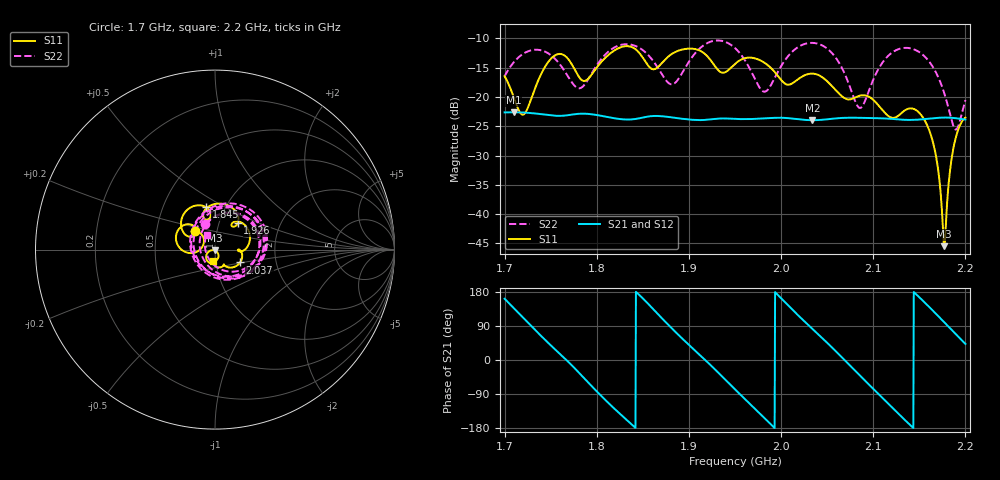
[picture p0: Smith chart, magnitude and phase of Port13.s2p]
# Hz S RI R 50
! CMT, CMT808U, 21440046, 21.4.3/4
! Date: 6/12/2026 9:37:08 AM
! Data: Format (Calibration Info)
! Freq	S11:Re/Im(F2)	S41:Re/Im(F2)	S14:Re/Im(F2)	S44:Re/Im(F2)
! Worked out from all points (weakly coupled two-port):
!   1001 points, 1.7 GHz to 2.2 GHz, reference 50 ohm
!   highest |S21| = -22.61 dB at 1.71 GHz (marker M1); lowest = -24.0 dB at 2.034 GHz (marker M2)
!   lowest |S11| = -45.5 dB at 2.177 GHz (marker M3), VSWR 1.01, Z = 49.8 - j0.485 ohm
!   |S11| at or under -10 dB: start of sweep to end of sweep
!   |S22| runs from -25.6 to -10.4 dB; largest |S21 - S12| = 0.0012
!   S11 on the Smith chart (normalised r, x): 1.7 GHz: 0.79, +0.17; 1.845 GHz: 0.81, +0.41; 1.926 GHz: 1.23, +0.37; 2.037 GHz: 1.31, -0.19; 2.2 GHz: 0.97, -0.13
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1.7e9  -0.1091 0.1031  -0.07 0.0233  -0.0701 0.0222  -0.054 0.1402
1.71e9  -0.0672 0.0729  -0.054 0.0507  -0.0545 0.0497  0.0269 0.1961
1.7215e9  -0.0697 0.0173  -0.0228 0.0699  -0.0238 0.0693  0.1417 0.1899
1.7435e9  -0.1787 -0.00605  0.0413 0.0573  0.0403 0.0576  0.2442 -0.000894
1.7835e9  -0.1037 0.0938  0.0545 -0.047  0.0551 -0.0459  -0.1135 -0.0399
1.815e9  -0.1894 0.1414  -0.0323 -0.0583  -0.0313 -0.0586  0.0643 0.2438
1.8455e9  -0.0492 0.2356  -0.0651 0.00788  -0.065 0.00684  0.2633 -0.0219
1.867e9  -0.0588 0.172  -0.0339 0.0599  -0.0347 0.0591  0.0466 -0.1673
1.8925e9  -0.0022 0.2534  0.0353 0.0547  0.0343 0.0551  -0.1339 0.0866
1.926e9  0.1266 0.1466  0.061 -0.0215  0.0613 -0.0203  0.2198 0.2042
1.95e9  0.1114 0.1557  0.014 -0.0635  0.015 -0.063  0.2496 -0.0772
1.982e9  0.1915 0.0401  -0.0585 -0.0299  -0.0578 -0.0308  -0.1002 -0.0475
2.0335e9  0.1471 -0.0579  0.00726 0.0629  0.00609 0.063  0.2669 0.1117
2.034e9  0.1463 -0.0599  0.0085 0.0628  0.00734 0.0628  0.269 0.1063
2.037e9  0.1398 -0.0718  0.0159 0.0613  0.0148 0.0615  0.2784 0.0728
2.0855e9  0.042 -0.0935  0.0501 -0.0435  0.0508 -0.0426  -0.0759 -0.027
2.117e9  -0.00633 -0.0679  -0.03 -0.058  -0.0289 -0.0584  0.0927 0.2074
2.1575e9  -0.0487 -0.0344  -0.055 0.0346  -0.0555 0.0336  0.1975 -0.0838
2.1685e9  -0.0292 -0.00718  -0.034 0.0568  -0.035 0.0561  0.1014 -0.1229
2.177e9  -0.00216 -0.00488  -0.0111 0.0658  -0.0123 0.0655  0.0231 -0.1055
2.187e9  0.0194 -0.031  0.018 0.0637  0.0168 0.064  -0.0417 -0.038
2.2e9  -0.00971 -0.0659  0.0473 0.0433  0.0465 0.0441  -0.0463 0.0819
